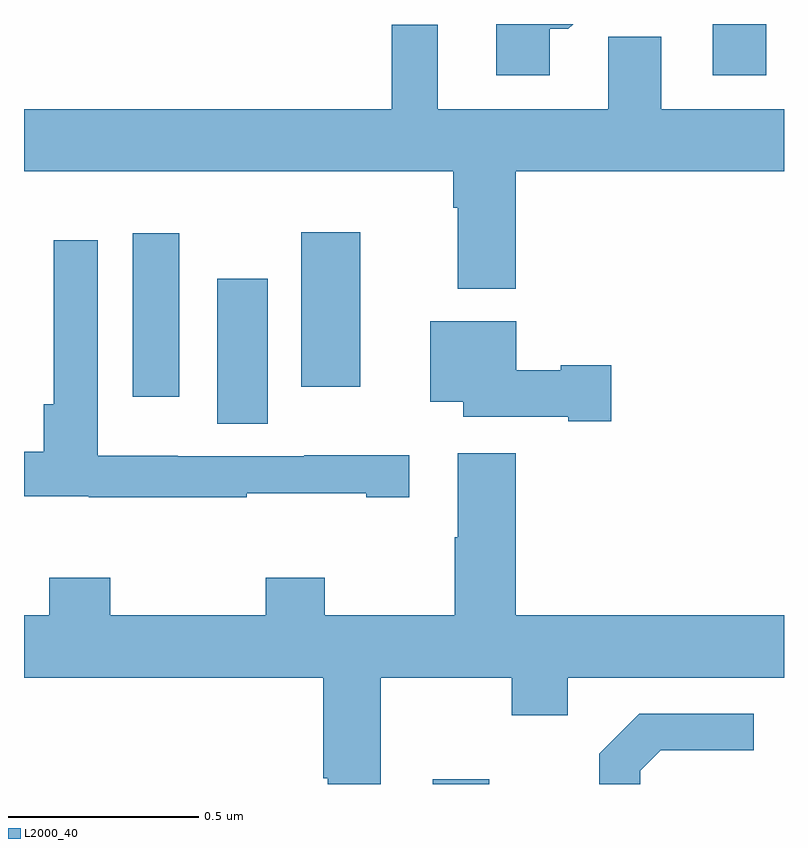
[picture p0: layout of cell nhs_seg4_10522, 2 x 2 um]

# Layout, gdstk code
import gdstk
lib = gdstk.Library(unit=1e-6, precision=1e-09)
def R(c, l, rs):  # rectangles x0, y0, x1, y1
    for r in rs: c.add(gdstk.rectangle(r[:2], r[2:], *l))
def P(c, l, *ps):  # polygons
    for p in ps: c.add(gdstk.Polygon(p, *l))
L2000_40 = (2000, 40)

nhs_seg4_10522 = lib.new_cell('nhs_seg4_10522')
R(nhs_seg4_10522, L2000_40, [(242.075,769.9,242.224,769.912), (241.508,770.848,241.642,771.229), (241.286,770.919,241.408,771.349), (241.73,770.946,241.885,771.352), (242.813,771.765,242.953,771.9)])
P(nhs_seg4_10522, L2000_40, [(242.383,771.887),(242.432,771.887),(242.445,771.9),(242.243,771.9),(242.243,771.765),(242.383,771.765)],
  [(242.294,771.512),(243,771.512),(243,771.676),(242.677,771.676),(242.677,771.866),(242.538,771.866),(242.538,771.676),(242.089,771.676),(242.089,771.898),(241.968,771.898),(241.968,771.676),(241,771.676),(241,771.512),(242.129,771.512),(242.129,771.416),(242.141,771.416),(242.141,771.203),(242.294,771.203)],
  [(241.586,770.665),(241.901,770.665),(241.901,770.655),(242.014,770.655),(242.014,770.765),(241.738,770.765),(241.738,770.763),(241.404,770.763),(241.404,770.764),(241.194,770.764),(241.194,771.331),(241.078,771.331),(241.078,770.899),(241.052,770.899),(241.052,770.774),(241,770.774),(241,770.657),(241.17,770.657),(241.17,770.655),(241.586,770.655)],
  [(242.545,771.002),(242.412,771.002),(242.412,770.989),(242.296,770.989),(242.296,771.118),(242.069,771.118),(242.069,770.906),(242.156,770.906),(242.156,770.867),(242.432,770.867),(242.432,770.855),(242.545,770.855)],
  [(241.939,770.18),(242.284,770.18),(242.284,770.081),(242.431,770.081),(242.431,770.18),(243,770.18),(243,770.344),(242.294,770.344),(242.294,770.77),(242.141,770.77),(242.141,770.549),(242.134,770.549),(242.134,770.344),(241.791,770.344),(241.791,770.443),(241.636,770.443),(241.636,770.344),(241.227,770.344),(241.227,770.443),(241.067,770.443),(241.067,770.344),(241,770.344),(241,770.18),(241.787,770.18),(241.787,769.915),(241.799,769.915),(241.799,769.9),(241.939,769.9)],
  [(242.622,769.935),(242.676,769.989),(242.92,769.989),(242.92,770.085),(242.619,770.085),(242.514,769.979),(242.514,769.9),(242.622,769.9)])

lib.write_gds('nhs_seg4_10522.gds')
